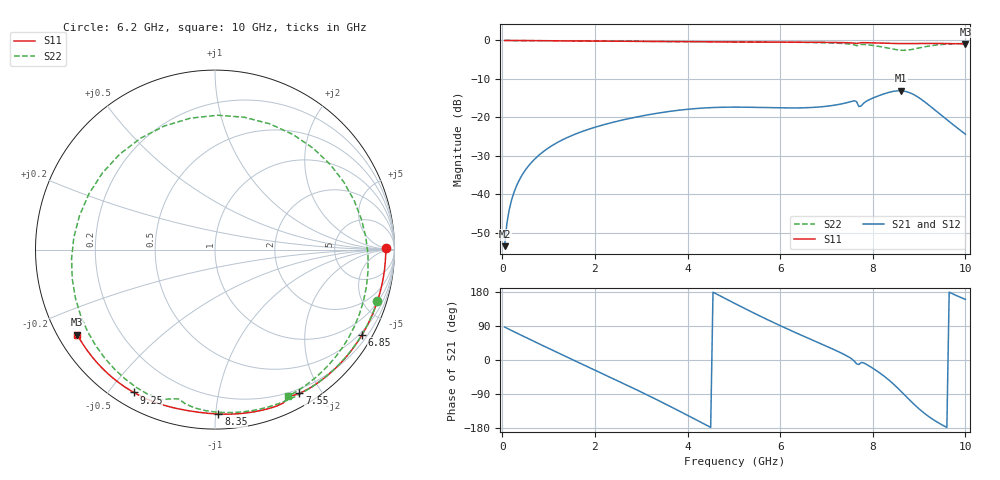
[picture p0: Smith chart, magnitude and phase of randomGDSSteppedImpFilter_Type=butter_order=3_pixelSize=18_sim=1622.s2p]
! freq	dB(S11)	phase(S11)	dB(S12)	phase(S12)
!  dB(S21)	phase(S21)	dB(S22)	phase(S22)
!S-par simulation data
#  GHz  S  DB  R 50
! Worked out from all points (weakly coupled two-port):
!   200 points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, 50 MHz to 10 GHz, reference 50 ohm
!   highest |S21| = -13.10 dB at 8.6 GHz (marker M1); lowest = -53.6 dB at 50 MHz (marker M2)
!   lowest |S11| = -0.9 dB at 10 GHz (marker M3), VSWR 19.43, Z = 2.78 - j14.1 ohm
!   |S11| at or under -10 dB: nowhere
!   |S22| runs from -2.6 to 0.0 dB; largest |S21 - S12| = 0
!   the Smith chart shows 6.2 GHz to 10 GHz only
!   S11 on the Smith chart (normalised r, x): 6.2 GHz: 38, +9; 6.85 GHz: 0.40, -3.67; 7.55 GHz: 0.15, -1.74; 8.35 GHz: 0.09, -1.02; 9.25 GHz: 0.06, -0.58; 10 GHz: 0.06, -0.28
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0.05  -0.00 -2.9  -53.56 86.9  -53.56 86.9  -0.00 -3.1
0.2  -0.01 -11.6  -41.56 77.8  -41.56 77.8  -0.02 -12.3
0.5  -0.04 -28.9  -33.72 60.0  -33.72 60.0  -0.04 -30.5
1.15  -0.09 -66.1  -26.83 22.0  -26.83 22.0  -0.10 -69.7
1.75  -0.14 -100.0  -23.59 -12.4  -23.59 -12.4  -0.16 -105.6
2.65  -0.22 -150.9  -20.56 -64.0  -20.56 -64.0  -0.24 -159.8
3.4  -0.29 165.3  -18.85 -108.6  -18.85 -108.6  -0.31 153.6
4.25  -0.36 113.5  -17.67 -161.9  -17.67 -161.9  -0.37 99.3
5.05  -0.40 64.6  -17.36 147.4  -17.36 147.4  -0.40 49.0
5.6  -0.41 32.7  -17.46 113.9  -17.46 113.9  -0.42 16.3
6.2  -0.43 0.7  -17.58 79.5  -17.58 79.5  -0.45 -17.5
6.7  -0.46 -23.4  -17.44 52.4  -17.44 52.4  -0.53 -44.8
6.85  -0.47 -30.2  -17.31 44.4  -17.31 44.4  -0.56 -53.2
7.55  -0.64 -59.6  -15.82 2.5  -15.82 2.5  -1.01 -97.1
7.95  -0.62 -74.4  -15.27 -17.8  -15.27 -17.8  -1.21 -130.1
8.35  -0.76 -88.8  -13.51 -53.1  -13.51 -53.1  -2.05 175.0
8.6  -0.82 -97.2  -13.10 -81.5  -13.10 -81.5  -2.54 123.7
8.85  -0.81 -105.5  -13.89 -112.0  -13.89 -112.0  -2.34 66.4
9.05  -0.78 -112.4  -15.35 -134.2  -15.35 -134.2  -1.83 27.6
9.25  -0.77 -119.6  -17.20 -152.8  -17.20 -152.8  -1.38 -2.0
9.6  -0.80 -132.7  -20.63 -178.0  -20.63 -178.0  -0.96 -37.3
10  -0.89 -148.4  -24.41 160.0  -24.41 160.0  -0.79 -63.7
